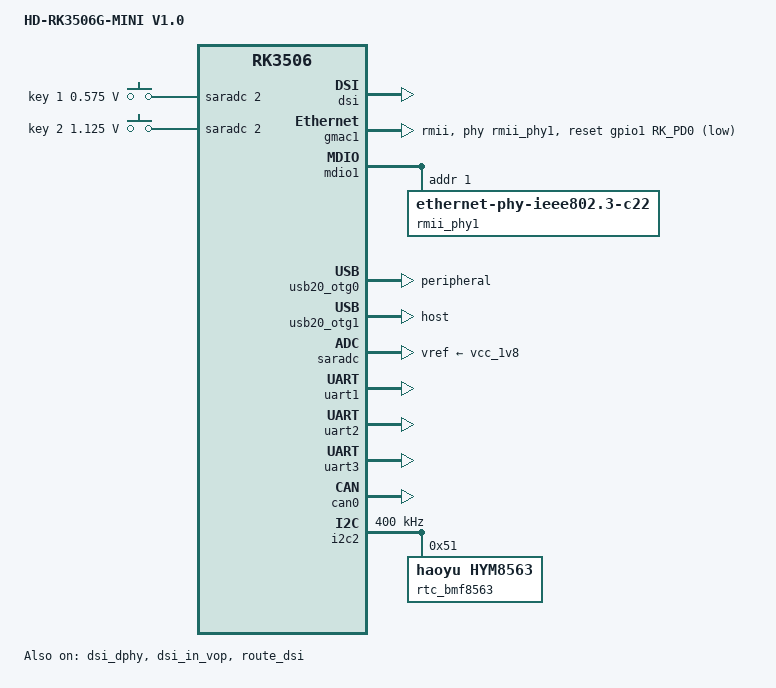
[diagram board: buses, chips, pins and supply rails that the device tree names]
// SPDX-License-Identifier: (GPL-2.0+ OR MIT)
/*
 * Copyright (c) 2024 Rockchip Electronics Co., Ltd.
 */

/dts-v1/;

#include "rk3506-luckfox-lyra.dtsi"

/ {
	model = "HD-RK3506G-MINI V1.0";
	compatible = "rockchip,rk3506g-demo-display-control", "rockchip,rk3506";

	chosen {
		bootargs = "earlycon=uart8250,mmio32,0xff0a0000 console=tty1 console=ttyFIQ0 storagemedia=sd root=/dev/mmcblk0p3 rootfstype=ext4 rootwait snd_aloop.index=7 snd_aloop.use_raw_jiffies=1";
	};
	
	// KEY
	adc_keys: adc-keys {
		compatible = "adc-keys";
		io-channels = <&saradc 2>;
		io-channel-names = "buttons";
		keyup-threshold-microvolt = <1800000>;
		poll-interval = <100>;

		vol-up-key {
			label = "key 1";
			linux,code = <KEY_1>;
			press-threshold-microvolt = <575000>;
		};

		vol-down-key {
			label = "key 2";
			linux,code = <KEY_2>;
			press-threshold-microvolt = <1125000>;
		};
	};
		
};

/**********display**********/
&cma {
	size = <0x1000000>;
};

&dsi {
	status = "okay";
};

&dsi_dphy {
	status = "okay";
};

&dsi_in_vop {
	status = "okay";
};

&route_dsi {
	status = "okay";
};

/**********ethernet**********/
&gmac1 {
	phy-mode = "rmii";
	clock_in_out = "output";

	snps,reset-gpio = <&gpio1 RK_PD0 GPIO_ACTIVE_LOW>;
	snps,reset-active-low;
	snps,reset-delays-us = <0 20000 100000>;

	pinctrl-names = "default";
	pinctrl-0 = <&eth_rmii1_miim_pins &eth_rmii1_tx_bus2_pins &eth_rmii1_rx_bus2_pins &eth_rmii1_clk_pins>;

	phy-handle = <&rmii_phy1>;
	status = "okay";
};

&mdio1 {
	rmii_phy1: phy@1 {
		compatible = "ethernet-phy-ieee802.3-c22";
		reg = <0x1>;
	};
};

/**********usb**********/
&usb20_otg0 {
	dr_mode = "peripheral";
	status = "okay";
};

&usb20_otg1 {
	dr_mode = "host";
	status = "okay";
};

&saradc {
	vref-supply = <&vcc_1v8>;
	status = "okay";
};

// UART1 - JP3
&uart1 {
	pinctrl-names = "default";
	pinctrl-0 = <&rm_io16_uart1_rx &rm_io17_uart1_tx>;
	status = "okay";
};

// UART1 - JP4
&uart2 {
	pinctrl-names = "default";
	pinctrl-0 = <&rm_io0_uart2_rx &rm_io2_uart2_tx>;
	status = "okay";
};

// UART1 - JP5
&uart3 {
	pinctrl-names = "default";
	pinctrl-0 = <&rm_io15_uart3_rx &rm_io14_uart3_tx>;
	status = "okay";
};

// CAN0 - JP6
&can0 {
	rockchip,rx-max-data = <18>;
	assigned-clocks = <&cru CLK_CAN0>;
	assigned-clock-rates = <200000000>;
	pinctrl-0 = <&rm_io19_can0_tx &rm_io20_can0_rx>;
	pinctrl-names = "default";
	status = "okay";
};

&i2c2 {
	clock-frequency = <400000>;
	pinctrl-names = "default";
	pinctrl-0 = <&rm_io4_i2c2_scl &rm_io5_i2c2_sda>;
	status = "okay";

	// RTC
	rtc_bmf8563: rtc@51 {
		compatible = "haoyu,hym8563";
		reg = <0x51>;
		status = "okay";
	};
};
